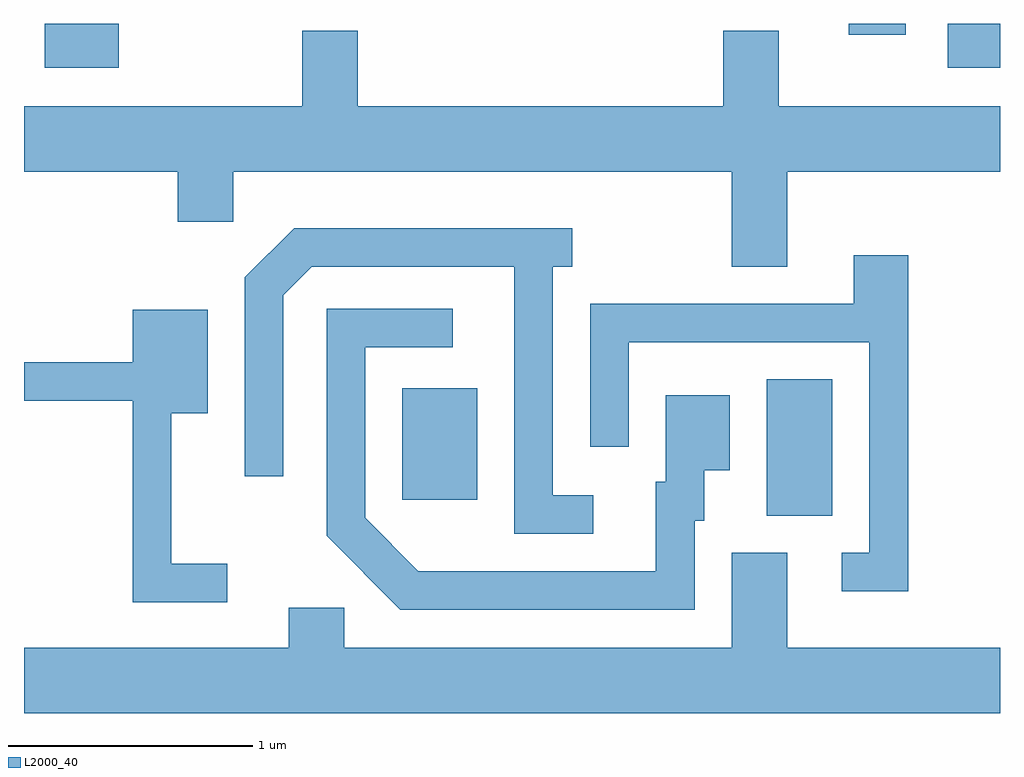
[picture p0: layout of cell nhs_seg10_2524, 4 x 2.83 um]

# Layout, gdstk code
import gdstk
lib = gdstk.Library(unit=1e-6, precision=1e-09)
def R(c, l, rs):  # rectangles x0, y0, x1, y1
    for r in rs: c.add(gdstk.rectangle(r[:2], r[2:], *l))
def P(c, l, *ps):  # polygons
    for p in ps: c.add(gdstk.Polygon(p, *l))
L2000_40 = (2000, 40)

nhs_seg10_2524 = lib.new_cell('nhs_seg10_2524')
R(nhs_seg10_2524, L2000_40, [(262.656,2112.506,262.924,2113.064), (261.161,2112.571,261.469,2113.029), (259.696,2114.341,259.999,2114.522), (263.396,2114.341,263.611,2114.522), (262.991,2114.476,263.224,2114.522)])
P(nhs_seg10_2524, L2000_40, [(262.739,2113.916),(263.611,2113.916),(263.611,2114.184),(262.704,2114.184),(262.704,2114.494),(262.476,2114.494),(262.476,2114.184),(260.979,2114.184),(260.979,2114.494),(260.751,2114.494),(260.751,2114.184),(259.611,2114.184),(259.611,2113.916),(260.241,2113.916),(260.241,2113.711),(260.469,2113.711),(260.469,2113.916),(262.511,2113.916),(262.511,2113.526),(262.739,2113.526)],
  [(261.943,2112.589),(261.779,2112.589),(261.779,2113.526),(261.858,2113.526),(261.858,2113.684),(260.719,2113.684),(260.516,2113.482),(260.516,2112.668),(260.674,2112.668),(260.674,2113.409),(260.791,2113.526),(261.621,2113.526),(261.621,2112.431),(261.943,2112.431)],
  [(263.234,2113.574),(263.011,2113.574),(263.011,2113.374),(261.931,2113.374),(261.931,2112.788),(262.089,2112.788),(262.089,2113.216),(263.076,2113.216),(263.076,2112.354),(262.963,2112.354),(262.963,2112.196),(263.234,2112.196)],
  [(262.359,2112.486),(262.399,2112.486),(262.399,2112.691),(262.504,2112.691),(262.504,2112.999),(262.241,2112.999),(262.241,2112.644),(262.201,2112.644),(262.201,2112.279),(261.227,2112.279),(261.009,2112.497),(261.009,2113.196),(261.368,2113.196),(261.368,2113.354),(260.851,2113.354),(260.851,2112.424),(261.154,2112.121),(262.359,2112.121)],
  [(260.443,2112.309),(260.214,2112.309),(260.214,2112.926),(260.364,2112.926),(260.364,2113.349),(260.056,2113.349),(260.056,2113.134),(259.611,2113.134),(259.611,2112.976),(260.056,2112.976),(260.056,2112.151),(260.443,2112.151)],
  [(263.611,2111.964),(262.739,2111.964),(262.739,2112.354),(262.511,2112.354),(262.511,2111.964),(260.924,2111.964),(260.924,2112.129),(260.696,2112.129),(260.696,2111.964),(259.611,2111.964),(259.611,2111.696),(263.611,2111.696)])

lib.write_gds('nhs_seg10_2524.gds')
